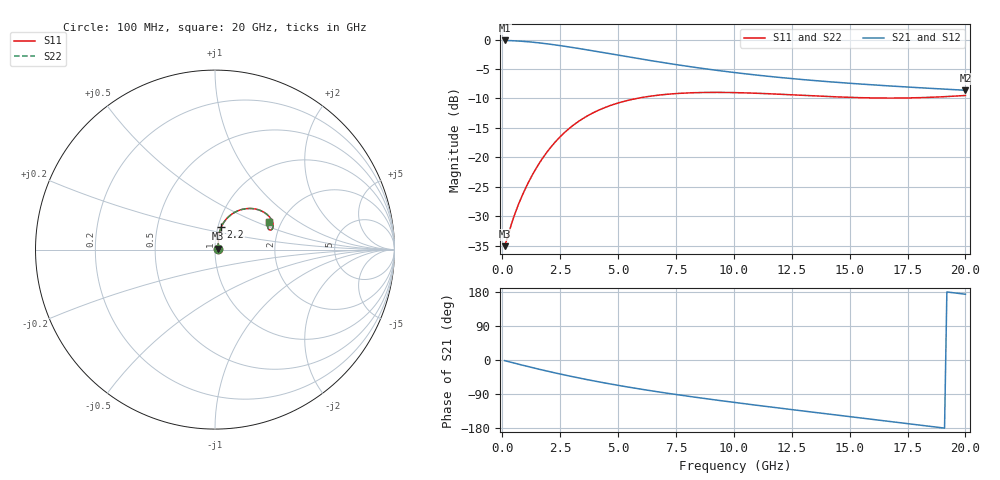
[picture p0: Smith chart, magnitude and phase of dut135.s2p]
! Touchstone file exported from HFSS 2024.1.0
!  File:  C:/UserFiles/LocalFiles/RDL_TSV_Batchsim/temp_RDL_TSV_135_1779428195.aedt
!  Generated:  01:50:57 PM May 22, 2026
!  Design:  RDL_TSV
!  Project:  temp_RDL_TSV_135_1779428195
!  Setup:  Setup1
!  Solution:  Sweep
! Variables:
!  dtsv = 7.29um
!  hbump = 3um
!  htsv = 71.78um
!  ldown = 437.64um
!  lrdl = 331.93um
!  p = 40
!  p1 = 52.78um
!  rhole = 10um
!  subl = 2640.64um
!  t = 450um
!  tdown = 4.08um
!  trdl = 2.93um
!  viad = 10um
!  wdown = 20.03um
!  wrdl = 16.15um
!  xbump = 18um
# GHz S MA R 50.000000
! Terminal data exported
! Port[1] = TM1_1_T1
! Port[2] = TM1_4_T1
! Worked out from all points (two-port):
!   200 points, 100 MHz to 20 GHz, reference 50 ohm
!   highest |S21| = -0.15 dB at 100 MHz (marker M1); lowest = -8.6 dB at 20 GHz (marker M2)
!   |S21| within 3 dB of the highest: start of sweep to 5.764 GHz
!   lowest |S11| = -35.1 dB at 100 MHz (marker M3), VSWR 1.04, Z = 51.7 + j0.563 ohm
!   |S11| at or under -10 dB: start of sweep to 5.811 GHz
!   |S22| runs from -35.1 to -9.0 dB; largest |S21 - S12| = 2.1e-14
!   S11 on the Smith chart (normalised r, x): 100 MHz: 1.03, +0.01; 2.2 GHz: 1.04, +0.26; 20 GHz: 1.72, +0.59
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0.1  0.01758 18.0  0.9831 -1.6  0.9831 -1.6  0.01758 18.0
! Gamma 0 0 0 0
! Port Impedance 50 0 50 0
0.5  0.03125 54.5  0.9768 -7.9  0.9768 -7.9  0.03125 54.5
0.7  0.03981 62.5  0.972 -11.0  0.972 -11.0  0.03981 62.5
1  0.05437 69.9  0.9626 -15.6  0.9626 -15.6  0.05436 69.9
1.3  0.07095 73.8  0.951 -20.1  0.951 -20.1  0.07094 73.8
1.6  0.08923 75.5  0.9374 -24.5  0.9374 -24.5  0.08922 75.5
2.2  0.129 74.7  0.9059 -33.0  0.9059 -33.0  0.129 74.7
2.8  0.1698 71.0  0.8709 -41.0  0.8709 -41.0  0.1697 71.0
3.5  0.2145 65.2  0.8282 -49.8  0.8282 -49.8  0.2145 65.2
4.2  0.2534 59.0  0.7854 -58.1  0.7854 -58.1  0.2533 59.0
5  0.2892 52.2  0.7382 -66.9  0.7382 -66.9  0.2892 52.2
5.9  0.3187 45.2  0.6888 -76.1  0.6888 -76.1  0.3187 45.2
6.8  0.3382 39.2  0.6443 -84.7  0.6443 -84.7  0.3382 39.2
7.6  0.3488 34.6  0.6091 -91.9  0.6091 -91.9  0.3488 34.6
8.4  0.3543 30.7  0.5777 -98.8  0.5777 -98.8  0.3544 30.7
10.1  0.3542 24.4  0.5227 -112.6  0.5227 -112.6  0.3543 24.4
11.7  0.3454 20.9  0.4828 -124.9  0.4828 -124.9  0.3455 20.9
13.4  0.3329 19.4  0.4499 -137.6  0.4499 -137.6  0.3331 19.4
15  0.323 19.9  0.4254 -149.4  0.4254 -149.4  0.3231 19.9
16.7  0.3184 21.9  0.4041 -161.9  0.4041 -161.9  0.3186 21.9
18.3  0.3222 24.5  0.387 -173.8  0.387 -173.8  0.3224 24.5
20  0.3352 26.9  0.371 173.6  0.371 173.6  0.3354 27.0
